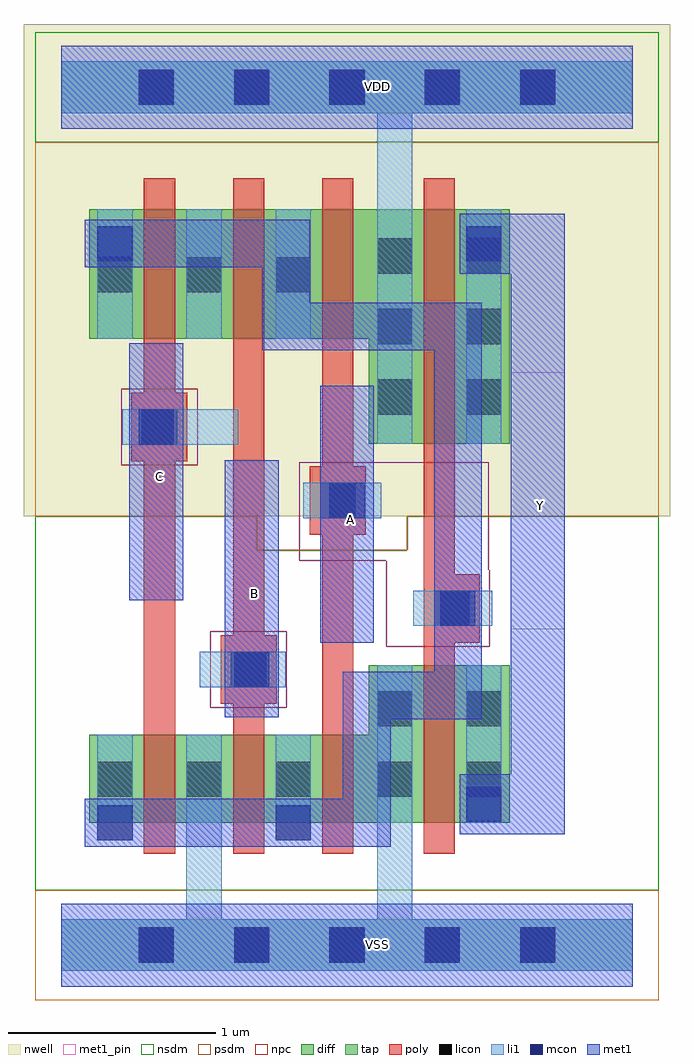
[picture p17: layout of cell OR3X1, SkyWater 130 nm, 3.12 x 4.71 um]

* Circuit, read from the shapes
.subckt OR3X1 A B C VDD VSS Y
XM1 VSS C n1 VSS sky130_fd_pr__nfet_01v8 w=0.425 l=0.15
XM2 n1 B VSS VSS sky130_fd_pr__nfet_01v8 w=0.425 l=0.15
XM3 VSS A n1 VSS sky130_fd_pr__nfet_01v8 w=0.425 l=0.15
XM4 Y n1 VSS VSS sky130_fd_pr__nfet_01v8 w=0.76 l=0.15
XM5 n2 C n1 VDD sky130_fd_pr__pfet_01v8 w=0.625 l=0.15
XM6 n3 B n2 VDD sky130_fd_pr__pfet_01v8 w=0.625 l=0.15
XM7 VDD A n3 VDD sky130_fd_pr__pfet_01v8 w=0.625 l=0.15
XM8 Y n1 VDD VDD sky130_fd_pr__pfet_01v8 w=1.13 l=0.15
.ends

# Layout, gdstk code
from math import pi, radians
import gdstk
lib = gdstk.Library(unit=1e-6, precision=1e-09)
def R(c, l, rs):  # rectangles x0, y0, x1, y1
    for r in rs: c.add(gdstk.rectangle(r[:2], r[2:], *l))
def A(c, l, x, y, w, h, nx, ny, dx, dy):  # array of equal rectangles
    R(c, l, [(x+i*dx, y+j*dy, x+i*dx+w, y+j*dy+h) for i in range(nx) for j in range(ny)])
def P(c, l, *ps):  # polygons
    for p in ps: c.add(gdstk.Polygon(p, *l))
nwell = (64, 20)
diff = (65, 20)
tap = (65, 44)
poly = (66, 20)
licon = (66, 44)
li1 = (67, 20)
mcon = (67, 44)
met1_pin = (68, 16)
met1 = (68, 20)
nsdm = (93, 44)
psdm = (94, 20)
npc = (95, 20)

pfet_01v8_cdns_715785618 = lib.new_cell('pfet_01v8_CDNS_71578561820115')
R(pfet_01v8_cdns_715785618, nwell, [(-0.445,-0.18,0.595,1.31)])
R(pfet_01v8_cdns_715785618, diff, [(-0.265,0,0,1.13), (0,0,0.15,1.13), (0.15,0,0.415,1.13)])
R(pfet_01v8_cdns_715785618, poly, [(0,-0.15,0.15,-0.095), (0,-0.095,0.15,0), (0,0,0.15,1.13), (0,1.13,0.15,1.225), (0,1.225,0.15,1.28)])
A(pfet_01v8_cdns_715785618, licon, -0.225, 0.14, 0.17, 0.17, 1, 3, 0, 0.34)
A(pfet_01v8_cdns_715785618, licon, 0.205, 0.14, 0.17, 0.17, 1, 3, 0, 0.34)
R(pfet_01v8_cdns_715785618, li1, [(-0.225,0,-0.055,1.13), (0.205,0,0.375,1.13)])
R(pfet_01v8_cdns_715785618, psdm, [(-0.405,-0.13,0.555,1.26)])

c_pfet_01v8_cdns_715785618 = lib.new_cell('pfet_01v8_CDNS_71578561820116')
R(c_pfet_01v8_cdns_715785618, nwell, [(-0.235,-0.18,0.405,0.805)])
R(c_pfet_01v8_cdns_715785618, diff, [(-0.055,0,0,0.625), (0,0,0.15,0.625), (0.15,0,0.225,0.625)])
R(c_pfet_01v8_cdns_715785618, poly, [(0,-0.15,0.15,-0.095), (0,-0.095,0.15,0), (0,0,0.15,0.625), (0,0.625,0.15,0.72), (0,0.72,0.15,0.775)])
R(c_pfet_01v8_cdns_715785618, psdm, [(-0.065,-0.13,0.105,0.755)])

nfet_01v8_cdns_715785618 = lib.new_cell('nfet_01v8_CDNS_7157856182075')
R(nfet_01v8_cdns_715785618, diff, [(-0.225,0,0,0.425), (0,0,0.15,0.425), (0.15,0,0.205,0.425)])
R(nfet_01v8_cdns_715785618, poly, [(0,-0.15,0.15,-0.095), (0,-0.095,0.15,0), (0,0,0.15,0.425), (0,0.425,0.15,0.52), (0,0.52,0.15,0.575)])
R(nfet_01v8_cdns_715785618, licon, [(-0.225,0.125,-0.055,0.295)])
R(nfet_01v8_cdns_715785618, li1, [(-0.225,0,-0.055,0.425)])
R(nfet_01v8_cdns_715785618, nsdm, [(-0.235,-0.13,0.215,0.555)])

c_nfet_01v8_cdns_715785618 = lib.new_cell('nfet_01v8_CDNS_71578561820117')
R(c_nfet_01v8_cdns_715785618, diff, [(-0.055,0,0,0.425), (0,0,0.15,0.425), (0.15,0,0.225,0.425)])
R(c_nfet_01v8_cdns_715785618, poly, [(0,-0.15,0.15,-0.095), (0,-0.095,0.15,0), (0,0,0.15,0.425), (0,0.425,0.15,0.52), (0,0.52,0.15,0.575)])
R(c_nfet_01v8_cdns_715785618, nsdm, [(-0.065,-0.13,0.105,0.555)])

c_pfet_01v8_cdns_715785618_ = lib.new_cell('pfet_01v8_CDNS_7157856182091')
R(c_pfet_01v8_cdns_715785618_, nwell, [(-0.445,-0.18,0.385,0.805)])
R(c_pfet_01v8_cdns_715785618_, diff, [(-0.265,0,0,0.625), (0,0,0.15,0.625), (0.15,0,0.205,0.625)])
R(c_pfet_01v8_cdns_715785618_, poly, [(0,-0.15,0.15,-0.095), (0,-0.095,0.15,0), (0,0,0.15,0.625), (0,0.625,0.15,0.72), (0,0.72,0.15,0.775)])
R(c_pfet_01v8_cdns_715785618_, licon, [(-0.225,0.225,-0.055,0.395)])
R(c_pfet_01v8_cdns_715785618_, li1, [(-0.225,0,-0.055,0.625)])
R(c_pfet_01v8_cdns_715785618_, psdm, [(-0.405,-0.13,0.215,0.755)])

c_nfet_01v8_cdns_715785618_ = lib.new_cell('nfet_01v8_CDNS_71578561820118')
R(c_nfet_01v8_cdns_715785618_, diff, [(-0.265,0,0,0.76), (0,0,0.15,0.76), (0.15,0,0.415,0.76)])
R(c_nfet_01v8_cdns_715785618_, poly, [(0,-0.15,0.15,-0.095), (0,-0.095,0.15,0), (0,0,0.15,0.76), (0,0.76,0.15,0.855), (0,0.855,0.15,0.91)])
R(c_nfet_01v8_cdns_715785618_, licon, [(-0.225,0.125,-0.055,0.295), (0.205,0.125,0.375,0.295), (-0.225,0.465,-0.055,0.635), (0.205,0.465,0.375,0.635)])
R(c_nfet_01v8_cdns_715785618_, li1, [(-0.225,0,-0.055,0.76), (0.205,0,0.375,0.76)])
R(c_nfet_01v8_cdns_715785618_, nsdm, [(-0.405,-0.13,0.555,0.89)])

c_nfet_01v8_cdns_715785618__ = lib.new_cell('nfet_01v8_CDNS_715785618205')
R(c_nfet_01v8_cdns_715785618__, diff, [(-0.265,0,0,0.425), (0,0,0.15,0.425), (0.15,0,0.375,0.425)])
R(c_nfet_01v8_cdns_715785618__, poly, [(0,-0.15,0.15,-0.095), (0,-0.095,0.15,0), (0,0,0.15,0.425), (0,0.425,0.15,0.52), (0,0.52,0.15,0.575)])
R(c_nfet_01v8_cdns_715785618__, licon, [(-0.225,0.125,-0.055,0.295), (0.205,0.125,0.375,0.295)])
R(c_nfet_01v8_cdns_715785618__, li1, [(-0.225,0,-0.055,0.425), (0.205,0,0.375,0.425)])
R(c_nfet_01v8_cdns_715785618__, nsdm, [(-0.405,-0.13,0.385,0.555)])

c_pfet_01v8_cdns_715785618__ = lib.new_cell('pfet_01v8_CDNS_71578561820119')
R(c_pfet_01v8_cdns_715785618__, nwell, [(-0.405,-0.18,0.555,0.805)])
R(c_pfet_01v8_cdns_715785618__, diff, [(-0.225,0,0,0.625), (0,0,0.15,0.625), (0.15,0,0.375,0.625)])
R(c_pfet_01v8_cdns_715785618__, poly, [(0,-0.15,0.15,-0.095), (0,-0.095,0.15,0), (0,0,0.15,0.625), (0,0.625,0.15,0.72), (0,0.72,0.15,0.775)])
R(c_pfet_01v8_cdns_715785618__, psdm, [(-0.235,-0.13,0.385,0.755)])

l1m1_c_cdns_715785618201 = lib.new_cell('L1M1_C_CDNS_7157856182010')
R(l1m1_c_cdns_715785618201, li1, [(-0.085,-0.085,0.085,0.165)])
R(l1m1_c_cdns_715785618201, mcon, [(-0.085,-0.085,0.085,0.085)])
R(l1m1_c_cdns_715785618201, met1, [(-0.115,-0.145,0.115,0.145)])

l1m1_c_cdns_715785618202 = lib.new_cell('L1M1_C_CDNS_715785618202')
R(l1m1_c_cdns_715785618202, li1, [(-0.085,-0.165,0.085,0.165)])
R(l1m1_c_cdns_715785618202, mcon, [(-0.085,-0.085,0.085,0.085)])
R(l1m1_c_cdns_715785618202, met1, [(-0.115,-0.145,0.115,0.145)])

pyl1con_c_cdns_715785618 = lib.new_cell('PYL1CON_C_CDNS_715785618200')
R(pyl1con_c_cdns_715785618, poly, [(-0.135,-0.165,0.135,0.165)])
R(pyl1con_c_cdns_715785618, licon, [(-0.085,-0.085,0.085,0.085)])
R(pyl1con_c_cdns_715785618, npc, [(-0.185,-0.185,0.185,0.185)])

l1m1_c_cdns_715785618203 = lib.new_cell('L1M1_C_CDNS_715785618203')
R(l1m1_c_cdns_715785618203, li1, [(-0.165,-0.085,0.165,0.085)])
R(l1m1_c_cdns_715785618203, mcon, [(-0.085,-0.085,0.085,0.085)])
R(l1m1_c_cdns_715785618203, met1, [(-0.115,-0.145,0.115,0.145)])

l1m1_c_cdns_715785618206 = lib.new_cell('L1M1_C_CDNS_715785618206')
R(l1m1_c_cdns_715785618206, li1, [(-0.085,-0.165,0.085,0.165)])
R(l1m1_c_cdns_715785618206, mcon, [(-0.085,-0.085,0.085,0.085)])
R(l1m1_c_cdns_715785618206, met1, [(-0.145,-0.115,0.145,0.115)])

licondiff_c_cdns_7157856 = lib.new_cell('LICONDIFF_C_CDNS_7157856182013')
R(licondiff_c_cdns_7157856, diff, [(-0.125,-0.145,0.125,0.145)])
R(licondiff_c_cdns_7157856, licon, [(-0.085,-0.085,0.085,0.085), (-0.085,-0.085,0.085,0.085)])

c_l1m1_c_cdns_715785618202 = lib.new_cell('L1M1_C_CDNS_7157856182024')
R(c_l1m1_c_cdns_715785618202, li1, [(-0.085,-0.085,0.085,0.165)])
R(c_l1m1_c_cdns_715785618202, mcon, [(-0.085,-0.085,0.085,0.085)])
R(c_l1m1_c_cdns_715785618202, met1, [(-0.145,-0.115,0.145,0.115)])

or3x1 = lib.new_cell('OR3X1')
R(or3x1, nwell, [(-0.18,2.07,2.94,4.305), (-0.18,3.875,2.94,4.445)])
A(or3x1, licon, 0.375, -0.085, 0.17, 0.17, 5, 1, 0.46, 0)
R(or3x1, licon, [(0.375,4.055,0.545,4.225), (0.375,4.055,0.545,4.225), (0.835,4.055,1.005,4.225), (0.835,4.055,1.005,4.225), (1.295,4.055,1.465,4.225), (1.295,4.055,1.465,4.225), (1.755,4.055,1.925,4.225), (1.755,4.055,1.925,4.225), (2.215,4.055,2.385,4.225), (2.215,4.055,2.385,4.225)])
A(or3x1, mcon, 0.375, -0.085, 0.17, 0.17, 5, 1, 0.46, 0)
R(or3x1, mcon, [(0.375,4.055,0.545,4.225), (0.375,4.055,0.545,4.225), (0.835,4.055,1.005,4.225), (0.835,4.055,1.005,4.225), (1.295,4.055,1.465,4.225), (1.295,4.055,1.465,4.225), (1.755,4.055,1.925,4.225), (1.755,4.055,1.925,4.225), (2.215,4.055,2.385,4.225), (2.215,4.055,2.385,4.225)])
R(or3x1, met1_pin, [(0.79,1.1,1.05,2.34), (1.25,1.46,1.51,2.7), (2.17,1.525,2.43,2.765), (0.33,1.665,0.59,2.905)])
R(or3x1, nsdm, [(-0.125,3.875,2.885,4.405), (-0.125,3.875,2.885,4.405), (-0.125,3.93,2.885,4.35), (-0.125,3.93,2.885,4.35)])
P(or3x1, nsdm, [(2.885,2.07),(1.67,2.07),(1.67,1.905),(0.945,1.905),(0.945,2.07),(-0.125,2.07),(-0.125,0.265),(2.885,0.265)])
R(or3x1, psdm, [(-0.125,-0.265,2.885,0.265), (-0.125,-0.21,2.885,0.21)])
P(or3x1, psdm, [(2.885,3.875),(-0.125,3.875),(-0.125,2.07),(0.945,2.07),(0.945,1.905),(1.67,1.905),(1.67,2.07),(2.885,2.07)])
P(or3x1, npc, [(2.065,2.33),(1.15,2.33),(1.15,1.855),(1.57,1.855),(1.57,1.44),(2.065,1.44)])
or3x1.add(gdstk.FlexPath([(1.825,2.42),(1.825,1.35)], 0.15, ends="flush", simple_path=True, layer=66, datatype=20))  # poly
or3x1.add(gdstk.FlexPath([(0.475,2.925),(0.475,1.015)], 0.15, ends="flush", simple_path=True, layer=66, datatype=20))  # poly
or3x1.add(gdstk.FlexPath([(0.905,2.925),(0.905,1.015)], 0.15, ends="flush", simple_path=True, layer=66, datatype=20))  # poly
or3x1.add(gdstk.FlexPath([(1.335,2.925),(1.335,1.015)], 0.15, ends="flush", simple_path=True, layer=66, datatype=20))  # poly
or3x1.add(gdstk.FlexPath([(0.755,1.33),(0.755,1.3)], 0.17, ends=(0.085, 0), simple_path=True, layer=67, datatype=20))  # li1
or3x1.add(gdstk.FlexPath([(0.92,1.33),(0.755,1.33)], 0.17, ends=(0, 0.085), simple_path=True, layer=67, datatype=20))  # li1
or3x1.add(gdstk.FlexPath([(0.31,2.5),(0.855,2.5)], 0.17, ends="flush", simple_path=True, layer=67, datatype=20))  # li1
or3x1.add(gdstk.FlexPath([(1.7,1.625),(2.055,1.625)], 0.17, ends="flush", simple_path=True, layer=67, datatype=20))  # li1
or3x1.add(gdstk.FlexPath([(0.69,2.925),(0.69,3.55)], 0.17, ends="flush", simple_path=True, layer=67, datatype=20))  # li1
or3x1.add(gdstk.FlexPath([(1.12,2.925),(1.12,3.55)], 0.17, ends="flush", simple_path=True, layer=67, datatype=20))  # li1
or3x1.add(gdstk.FlexPath([(1.38,2.145),(1.17,2.145)], 0.17, ends="flush", simple_path=True, layer=67, datatype=20))  # li1
or3x1.add(gdstk.FlexPath([(2.675,0),(0,0)], 0.25, ends=(0.085, 0), simple_path=True, layer=67, datatype=20))  # li1
or3x1.add(gdstk.FlexPath([(2.675,4.14),(0,4.14)], 0.25, ends=(0.085, 0), simple_path=True, layer=67, datatype=20))  # li1
or3x1.add(gdstk.FlexPath([(2.675,4.14),(0,4.14)], 0.25, ends=(0.085, 0), simple_path=True, layer=67, datatype=20))  # li1
or3x1.add(gdstk.FlexPath([(0.69,0.59),(0.69,0)], 0.17, ends="flush", simple_path=True, layer=67, datatype=20))  # li1
or3x1.add(gdstk.FlexPath([(1.61,0.59),(1.61,0)], 0.17, ends="flush", simple_path=True, layer=67, datatype=20))  # li1
or3x1.add(gdstk.FlexPath([(1.61,3.55),(1.61,4.14)], 0.17, ends="flush", simple_path=True, layer=67, datatype=20))  # li1
or3x1.add(gdstk.FlexPath([(0.46,1.665),(0.46,2.905)], 0.26, ends="flush", simple_path=True, layer=68, datatype=20))  # met1
or3x1.add(gdstk.FlexPath([(1.915,1.26),(1.915,1.205)], 0.23, ends=(0, 0.115), simple_path=True, layer=68, datatype=20))  # met1
or3x1.add(gdstk.FlexPath([(1.915,1.205),(1.475,1.205)], 0.23, ends="extended", simple_path=True, layer=68, datatype=20))  # met1
or3x1.add(gdstk.FlexPath([(2.3,3.53),(2.3,0.535)], 0.26, ends="flush", simple_path=True, layer=68, datatype=20))  # met1
or3x1.add(gdstk.FlexPath([(1.915,1.92),(1.915,1.68)], 0.23, ends=(0, 0.115), simple_path=True, layer=68, datatype=20))  # met1
or3x1.add(gdstk.FlexPath([(1.915,1.425),(1.915,1.26)], 0.23, ends=(0, 0.115), simple_path=True, layer=68, datatype=20))  # met1
or3x1.add(gdstk.FlexPath([(1.475,0.59),(0.26,0.59)], 0.23, ends=(0.115, 0), simple_path=True, layer=68, datatype=20))  # met1
or3x1.add(gdstk.FlexPath([(2.155,0.68),(2.04,0.68)], 0.29, ends=(0.145, 0), simple_path=True, layer=68, datatype=20))  # met1
or3x1.add(gdstk.FlexPath([(0.92,1.1),(0.92,2.34)], 0.26, ends="flush", simple_path=True, layer=68, datatype=20))  # met1
or3x1.add(gdstk.FlexPath([(0.275,3.385),(1.085,3.385)], 0.23, ends=(0, 0.115), simple_path=True, layer=68, datatype=20))  # met1
or3x1.add(gdstk.FlexPath([(1.085,3.385),(1.085,2.985)], 0.23, ends="extended", simple_path=True, layer=68, datatype=20))  # met1
or3x1.add(gdstk.FlexPath([(1.38,1.46),(1.38,2.7)], 0.26, ends="flush", simple_path=True, layer=68, datatype=20))  # met1
or3x1.add(gdstk.FlexPath([(2.155,0.535),(2.155,0.68)], 0.29, ends=(0, 0.145), simple_path=True, layer=68, datatype=20))  # met1
or3x1.add(gdstk.FlexPath([(1.915,2.985),(1.915,1.92)], 0.23, ends=(0.115, 0), simple_path=True, layer=68, datatype=20))  # met1
or3x1.add(gdstk.FlexPath([(2.3,3.385),(2.04,3.385)], 0.29, ends="flush", simple_path=True, layer=68, datatype=20))  # met1
or3x1.add(gdstk.FlexPath([(1.475,1.205),(1.475,0.59)], 0.23, ends="extended", simple_path=True, layer=68, datatype=20))  # met1
or3x1.add(gdstk.FlexPath([(1.085,2.985),(1.915,2.985)], 0.23, ends="extended", simple_path=True, layer=68, datatype=20))  # met1
or3x1.add(gdstk.FlexPath([(1.915,1.68),(1.915,1.425)], 0.23, ends=(0, 0.115), simple_path=True, layer=68, datatype=20))  # met1
or3x1.add(gdstk.FlexPath([(0,0),(2.76,0)], 0.4, ends="flush", simple_path=True, layer=68, datatype=20))  # met1
or3x1.add(gdstk.FlexPath([(0,4.14),(2.76,4.14)], 0.4, ends="flush", simple_path=True, layer=68, datatype=20))  # met1
or3x1.add(gdstk.FlexPath([(0,0),(2.76,0)], 0.4, ends="flush", simple_path=True, layer=68, datatype=16))  # met1_pin
or3x1.add(gdstk.FlexPath([(0,4.14),(2.76,4.14)], 0.4, ends="flush", simple_path=True, layer=68, datatype=16))  # met1_pin
or3x1.add(gdstk.FlexPath([(0,4.14),(2.76,4.14)], 0.4, ends="flush", simple_path=True, layer=68, datatype=16))  # met1_pin
or3x1.add(gdstk.FlexPath([(0,0),(2.76,0)], 0.25, ends="flush", simple_path=True, layer=65, datatype=44))  # tap
or3x1.add(gdstk.FlexPath([(0,4.14),(2.76,4.14)], 0.25, ends="flush", simple_path=True, layer=65, datatype=44))  # tap
or3x1.add(gdstk.FlexPath([(0,4.14),(2.76,4.14)], 0.25, ends="flush", simple_path=True, layer=65, datatype=44))  # tap
or3x1.add(gdstk.Reference(pfet_01v8_cdns_715785618, (1.75,2.42)))
or3x1.add(gdstk.Reference(c_pfet_01v8_cdns_715785618, (1.26,2.925)))
or3x1.add(gdstk.Reference(nfet_01v8_cdns_715785618, (0.98,0.59), rotation=pi, x_reflection=True))
or3x1.add(gdstk.Reference(c_nfet_01v8_cdns_715785618, (1.26,0.59)))
or3x1.add(gdstk.Reference(c_pfet_01v8_cdns_715785618_, (0.4,2.925)))
or3x1.add(gdstk.Reference(c_nfet_01v8_cdns_715785618_, (1.75,0.59)))
or3x1.add(gdstk.Reference(c_nfet_01v8_cdns_715785618__, (0.4,0.59)))
or3x1.add(gdstk.Reference(c_pfet_01v8_cdns_715785618__, (0.83,2.925)))
or3x1.add(gdstk.Reference(l1m1_c_cdns_715785618201, (2.04,0.68)))
or3x1.add(gdstk.Reference(l1m1_c_cdns_715785618202, (2.04,3.385)))
or3x1.add(gdstk.Reference(pyl1con_c_cdns_715785618, (0.475,2.5), rotation=pi, x_reflection=True))
or3x1.add(gdstk.Reference(pyl1con_c_cdns_715785618, (0.905,1.33), rotation=pi))
or3x1.add(gdstk.Reference(pyl1con_c_cdns_715785618, (1.335,2.145), rotation=pi))
or3x1.add(gdstk.Reference(pyl1con_c_cdns_715785618, (1.885,1.625)))
or3x1.add(gdstk.Reference(l1m1_c_cdns_715785618203, (0.92,1.33), x_reflection=True))
or3x1.add(gdstk.Reference(l1m1_c_cdns_715785618203, (1.38,2.145), x_reflection=True))
or3x1.add(gdstk.Reference(l1m1_c_cdns_715785618203, (1.915,1.625)))
or3x1.add(gdstk.Reference(l1m1_c_cdns_715785618203, (0.46,2.5), x_reflection=True))
or3x1.add(gdstk.Reference(l1m1_c_cdns_715785618206, (0.26,3.385)))
or3x1.add(gdstk.Reference(licondiff_c_cdns_7157856, (0.69,3.235)))
or3x1.add(gdstk.Reference(licondiff_c_cdns_7157856, (1.12,3.235)))
or3x1.add(gdstk.Reference(c_l1m1_c_cdns_715785618202, (0.26,0.59)))
or3x1.add(gdstk.Reference(c_l1m1_c_cdns_715785618202, (1.12,0.59)))
or3x1.add(gdstk.Label('VSS', (1.525,0.005), layer=68, texttype=20))
or3x1.add(gdstk.Label('VDD', (1.525,4.145), layer=68, texttype=20))
or3x1.add(gdstk.Label('VDD', (1.525,4.145), layer=68, texttype=20))
or3x1.add(gdstk.Label('B', (0.935,1.695), layer=68, texttype=20))
or3x1.add(gdstk.Label('Y', (2.315,2.12), layer=68, texttype=20))
or3x1.add(gdstk.Label('A', (1.395,2.055), layer=68, texttype=20))
or3x1.add(gdstk.Label('C', (0.475,2.26), layer=68, texttype=20))

lib.write_gds('OR3X1.gds')
